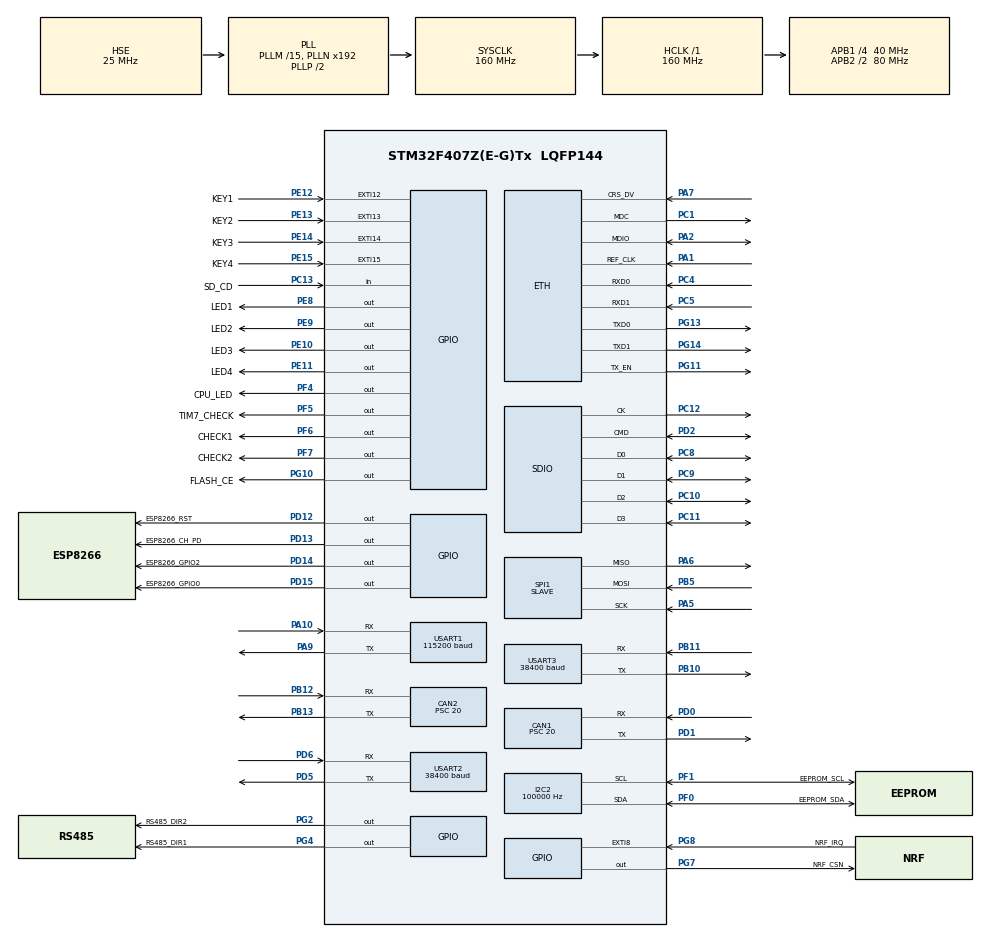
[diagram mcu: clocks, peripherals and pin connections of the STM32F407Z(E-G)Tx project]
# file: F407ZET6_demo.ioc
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CAN1.BS1=CAN_BS1_13TQ
CAN1.BS2=CAN_BS2_2TQ
CAN1.CalculateBaudRate=125000
CAN1.CalculateTimeBit=8000.00
CAN1.CalculateTimeQuantum=500.0
CAN1.Prescaler=20
CAN2.BS1=CAN_BS1_13TQ
CAN2.BS2=CAN_BS2_2TQ
CAN2.CalculateBaudRate=125000
CAN2.CalculateTimeBit=8000.00
CAN2.CalculateTimeQuantum=500.0
CAN2.Prescaler=20
Dma.Request0=SDIO_RX
Dma.Request1=SDIO_TX
Dma.SDIO_RX.0.Direction=DMA_PERIPH_TO_MEMORY
Dma.SDIO_RX.0.FIFOMode=DMA_FIFOMODE_ENABLE
Dma.SDIO_RX.0.FIFOThreshold=DMA_FIFO_THRESHOLD_FULL
Dma.SDIO_RX.0.Instance=DMA2_Stream3
Dma.SDIO_RX.0.MemBurst=DMA_MBURST_INC4
Dma.SDIO_RX.0.MemDataAlignment=DMA_MDATAALIGN_WORD
Dma.SDIO_RX.0.MemInc=DMA_MINC_ENABLE
Dma.SDIO_RX.0.Mode=DMA_PFCTRL
Dma.SDIO_RX.0.PeriphBurst=DMA_PBURST_INC4
Dma.SDIO_RX.0.PeriphDataAlignment=DMA_PDATAALIGN_WORD
Dma.SDIO_RX.0.PeriphInc=DMA_PINC_DISABLE
Dma.SDIO_RX.0.Priority=DMA_PRIORITY_LOW
Dma.SDIO_TX.1.Direction=DMA_MEMORY_TO_PERIPH
Dma.SDIO_TX.1.FIFOMode=DMA_FIFOMODE_ENABLE
Dma.SDIO_TX.1.FIFOThreshold=DMA_FIFO_THRESHOLD_FULL
Dma.SDIO_TX.1.Instance=DMA2_Stream6
Dma.SDIO_TX.1.MemBurst=DMA_MBURST_INC4
Dma.SDIO_TX.1.MemDataAlignment=DMA_MDATAALIGN_WORD
Dma.SDIO_TX.1.MemInc=DMA_MINC_ENABLE
Dma.SDIO_TX.1.Mode=DMA_PFCTRL
Dma.SDIO_TX.1.PeriphBurst=DMA_PBURST_INC4
Dma.SDIO_TX.1.PeriphDataAlignment=DMA_PDATAALIGN_WORD
Dma.SDIO_TX.1.PeriphInc=DMA_PINC_DISABLE
Dma.SDIO_TX.1.Priority=DMA_PRIORITY_LOW
ETH.ChecksumMode=ETH_CHECKSUM_BY_HARDWARE
ETH.MACAddr=00\:00\:00\:00\:00\:00
ETH.MediaInterface=ETH_MEDIA_INTERFACE_RMII
ETH.PHY_Name_RMII=DP83848_PHY_ADDRESS
ETH.PhyAddress=1
ETH.RxMode=ETH_RXINTERRUPT_MODE
FATFS.BSP.number=1
FATFS._CODE_PAGE=850
FATFS._STRF_ENCODE=0
FATFS._USE_EXPAND=1
FATFS._USE_FIND=1
FATFS._USE_FORWARD=1
FATFS._USE_LABEL=1
FATFS._USE_LFN=2
FATFS0.BSP.STBoard=false
FATFS0.BSP.api=Unknown
FATFS0.BSP.i2caddr=0
FATFS0.BSP.instance=PC13-ANTI_TAMP
FATFS0.BSP.ip=GPIO
FATFS0.BSP.mode=Input
FATFS0.BSP.name=Detect_SDIO
FATFS0.BSP.solution=PC13-ANTI_TAMP
FREERTOS.INCLUDE_pcTaskGetTaskName=1
FREERTOS.MEMORY_ALLOCATION=0
FREERTOS.Tasks01=TaskLed,0,512,StartTaskLed,Default,NULL,Dynamic,NULL,NULL
FREERTOS.configCHECK_FOR_STACK_OVERFLOW=2
FREERTOS.configENABLE_BACKWARD_COMPATIBILITY=1
FREERTOS.configGENERATE_RUN_TIME_STATS=1
FREERTOS.configQUEUE_REGISTRY_SIZE=8
FREERTOS.configRECORD_STACK_HIGH_ADDRESS=1
FREERTOS.configTIMER_QUEUE_LENGTH=8
FREERTOS.configTOTAL_HEAP_SIZE=49152
FREERTOS.configUSE_MALLOC_FAILED_HOOK=1
FREERTOS.configUSE_STATS_FORMATTING_FUNCTIONS=1
FREERTOS.configUSE_TIMERS=1
FREERTOS.configUSE_TRACE_FACILITY=1
I2C2.ClockSpeed=100000
I2C2.GeneralCallMode=I2C_GENERALCALL_DISABLE
LWIP.LWIP_DHCP=0
LWIP.MEMP_NUM_TCP_PCB=10
LWIP.MEMP_NUM_TCP_SEG=24
LWIP.PBUF_POOL_BUFSIZE=1560
LWIP.TCP_SND_BUF=1840
LWIP.Version=v2.1.2_Cube
Mcu.Family=STM32F4
Mcu.Name=STM32F407Z(E-G)Tx
Mcu.Package=LQFP144
NVIC.CAN1_RX0_IRQn=true\:5\:0\:false\:false\:true\:true\:true\:true
NVIC.CAN1_SCE_IRQn=true\:5\:0\:false\:false\:true\:true\:true\:true
NVIC.CAN2_RX1_IRQn=true\:5\:0\:false\:false\:true\:true\:true\:true
NVIC.CAN2_SCE_IRQn=true\:5\:0\:false\:false\:true\:true\:true\:true
NVIC.DMA2_Stream3_IRQn=true\:5\:0\:false\:false\:true\:true\:false\:true
NVIC.DMA2_Stream6_IRQn=true\:5\:0\:false\:false\:true\:true\:false\:true
NVIC.ETH_IRQn=true\:5\:0\:false\:false\:true\:true\:false\:true
NVIC.EXTI15_10_IRQn=true\:5\:0\:false\:false\:true\:true\:true\:true
NVIC.PriorityGroup=NVIC_PRIORITYGROUP_4
NVIC.SDIO_IRQn=true\:5\:0\:false\:false\:true\:true\:true\:true
NVIC.SPI1_IRQn=true\:5\:0\:false\:false\:true\:true\:true\:true
NVIC.TIM6_DAC_IRQn=true\:0\:0\:false\:false\:true\:false\:true\:true
NVIC.TIM7_IRQn=true\:5\:0\:false\:false\:true\:true\:true\:true
NVIC.TimeBase=TIM6_DAC_IRQn
NVIC.TimeBaseIP=TIM6
NVIC.USART1_IRQn=true\:5\:0\:false\:false\:true\:true\:true\:true
NVIC.USART2_IRQn=true\:5\:0\:false\:false\:true\:true\:true\:true
NVIC.USART3_IRQn=true\:5\:0\:false\:false\:true\:true\:true\:true
PA1.Mode=RMII
PA1.Signal=ETH_REF_CLK
PA10.Mode=Asynchronous
PA10.Signal=USART1_RX
PA13.Mode=Serial_Wire
PA13.Signal=SYS_JTMS-SWDIO
PA14.Mode=Serial_Wire
PA14.Signal=SYS_JTCK-SWCLK
PA2.Mode=RMII
PA2.Signal=ETH_MDIO
PA5.Mode=Full_Duplex_Slave
PA5.Signal=SPI1_SCK
PA6.Mode=Full_Duplex_Slave
PA6.Signal=SPI1_MISO
PA7.Mode=RMII
PA7.Signal=ETH_CRS_DV
PA9.Mode=Asynchronous
PA9.Signal=USART1_TX
PB10.Mode=Asynchronous
PB10.Signal=USART3_TX
PB11.Mode=Asynchronous
PB11.Signal=USART3_RX
PB12.Mode=CAN_Activate
PB12.Signal=CAN2_RX
PB13.Mode=CAN_Activate
PB13.Signal=CAN2_TX
PB5.Mode=Full_Duplex_Slave
PB5.Signal=SPI1_MOSI
PC1.Mode=RMII
PC1.Signal=ETH_MDC
PC10.GPIO_PuPd=GPIO_PULLUP
PC10.Mode=SD_4_bits_Wide_bus
PC10.Signal=SDIO_D2
PC11.GPIO_PuPd=GPIO_PULLUP
PC11.Mode=SD_4_bits_Wide_bus
PC11.Signal=SDIO_D3
PC12.Mode=SD_4_bits_Wide_bus
PC12.Signal=SDIO_CK
PC13-ANTI_TAMP.GPIO_Label=SD_CD
PC13-ANTI_TAMP.Signal=GPIO_Input
PC14-OSC32_IN.Mode=LSE-External-Oscillator
PC14-OSC32_IN.Signal=RCC_OSC32_IN
PC15-OSC32_OUT.Mode=LSE-External-Oscillator
PC15-OSC32_OUT.Signal=RCC_OSC32_OUT
PC4.Mode=RMII
PC4.Signal=ETH_RXD0
PC5.Mode=RMII
PC5.Signal=ETH_RXD1
PC8.GPIO_PuPd=GPIO_PULLUP
PC8.Mode=SD_4_bits_Wide_bus
PC8.Signal=SDIO_D0
PC9.GPIO_PuPd=GPIO_PULLUP
PC9.Mode=SD_4_bits_Wide_bus
PC9.Signal=SDIO_D1
PD0.Mode=CAN_Activate
PD0.Signal=CAN1_RX
PD1.Mode=CAN_Activate
PD1.Signal=CAN1_TX
PD12.GPIO_Label=ESP8266_RST
PD12.Signal=GPIO_Output
PD13.GPIO_Label=ESP8266_CH_PD
PD13.Signal=GPIO_Output
PD14.GPIO_Label=ESP8266_GPIO2
PD14.Signal=GPIO_Output
PD15.GPIO_Label=ESP8266_GPIO0
PD15.Signal=GPIO_Output
PD2.GPIO_PuPd=GPIO_PULLUP
PD2.Mode=SD_4_bits_Wide_bus
PD2.Signal=SDIO_CMD
PD5.Mode=Asynchronous
PD5.Signal=USART2_TX
PD6.Mode=Asynchronous
PD6.Signal=USART2_RX
PE10.GPIO_Label=LED3
PE10.PinState=GPIO_PIN_SET
PE10.Signal=GPIO_Output
PE11.GPIO_Label=LED4
PE11.PinState=GPIO_PIN_SET
PE11.Signal=GPIO_Output
PE12.GPIO_Label=KEY1
PE12.GPIO_ModeDefaultEXTI=GPIO_MODE_IT_FALLING
PE12.Signal=GPXTI12
PE13.GPIO_Label=KEY2
PE13.GPIO_ModeDefaultEXTI=GPIO_MODE_IT_FALLING
PE13.Signal=GPXTI13
PE14.GPIO_Label=KEY3
PE14.GPIO_ModeDefaultEXTI=GPIO_MODE_IT_FALLING
PE14.Signal=GPXTI14
PE15.GPIO_Label=KEY4
PE15.GPIO_ModeDefaultEXTI=GPIO_MODE_IT_FALLING
PE15.Signal=GPXTI15
PE8.GPIO_Label=LED1
PE8.PinState=GPIO_PIN_SET
PE8.Signal=GPIO_Output
PE9.GPIO_Label=LED2
PE9.PinState=GPIO_PIN_SET
PE9.Signal=GPIO_Output
PF0.GPIO_Label=EEPROM_SDA
PF0.GPIO_PuPdOD=GPIO_PULLUP
PF0.Mode=I2C
PF0.Signal=I2C2_SDA
PF1.GPIO_Label=EEPROM_SCL
PF1.Mode=I2C
PF1.Signal=I2C2_SCL
PF4.GPIO_Label=CPU_LED
PF4.Signal=GPIO_Output
PF5.GPIO_Label=TIM7_CHECK
PF5.Signal=GPIO_Output
PF6.GPIO_Label=CHECK1
PF6.Signal=GPIO_Output
PF7.GPIO_Label=CHECK2
PF7.Signal=GPIO_Output
PG10.GPIO_Label=FLASH_CE
PG10.PinState=GPIO_PIN_SET
PG10.Signal=GPIO_Output
PG11.Mode=RMII
PG11.Signal=ETH_TX_EN
PG13.Mode=RMII
PG13.Signal=ETH_TXD0
PG14.Mode=RMII
PG14.Signal=ETH_TXD1
PG2.GPIO_Label=RS485_DIR2
PG2.Signal=GPIO_Output
PG4.GPIO_Label=RS485_DIR1
PG4.Signal=GPIO_Output
PG7.GPIO_Label=NRF_CSN
PG7.Signal=GPIO_Output
PG8.GPIO_Label=NRF_IRQ
PG8.Signal=GPXTI8
PH0-OSC_IN.Mode=HSE-External-Oscillator
PH0-OSC_IN.Signal=RCC_OSC_IN
PH1-OSC_OUT.Mode=HSE-External-Oscillator
PH1-OSC_OUT.Signal=RCC_OSC_OUT
ProjectManager.HeapSize=0x1000
ProjectManager.StackSize=0x1000
ProjectManager.TargetToolchain=STM32CubeIDE
RCC.48MHZClocksFreq_Value=40000000
RCC.AHBFreq_Value=160000000
RCC.APB1CLKDivider=RCC_HCLK_DIV4
RCC.APB1Freq_Value=40000000
RCC.APB1TimFreq_Value=80000000
RCC.APB2CLKDivider=RCC_HCLK_DIV2
RCC.APB2Freq_Value=80000000
RCC.APB2TimFreq_Value=160000000
RCC.CortexFreq_Value=160000000
RCC.HCLKFreq_Value=160000000
RCC.HSE_VALUE=25000000
RCC.HSI_VALUE=16000000
RCC.PLLM=15
RCC.PLLQ=8
RCC.PLLSourceVirtual=RCC_PLLSOURCE_HSE
RCC.RCC_RTC_Clock_Source=RCC_RTCCLKSOURCE_LSE
RCC.RCC_RTC_Clock_SourceVirtual=RCC_RTCCLKSOURCE_LSE
RCC.SYSCLKFreq_VALUE=160000000
RCC.SYSCLKSource=RCC_SYSCLKSOURCE_PLLCLK
RCC.VCOOutputFreq_Value=320000000
SDIO.ClockDiv=0
SPI1.Direction=SPI_DIRECTION_2LINES
SPI1.Mode=SPI_MODE_SLAVE
SPI1.VirtualType=VM_SLAVE
TIM7.AutoReloadPreload=TIM_AUTORELOAD_PRELOAD_ENABLE
TIM7.Period=24
TIM7.Prescaler=79
USART1.BaudRate=115200
USART1.VirtualMode=VM_ASYNC
USART2.BaudRate=38400
USART2.VirtualMode=VM_ASYNC
USART3.BaudRate=38400
USART3.VirtualMode=VM_ASYNC
VP_FATFS_VS_SDIO.Mode=SDIO
VP_FREERTOS_VS_CMSIS_V1.Mode=CMSIS_V1
VP_LWIP_VS_Enabled.Mode=Enabled
VP_RTC_VS_RTC_Activate.Mode=RTC_Enabled
VP_RTC_VS_RTC_Calendar.Mode=RTC_Calendar
VP_SYS_VS_tim6.Mode=TIM6
VP_TIM7_VS_ClockSourceINT.Mode=Enable_Timer
board=custom

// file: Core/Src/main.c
/* USER CODE BEGIN Header */
/**
  ******************************************************************************
  * @file           : main.c
  * @brief          : Main program body
  ******************************************************************************
  * @attention
  *
  * <h2><center>&copy; Copyright (c) 2021 STMicroelectronics.
  * All rights reserved.</center></h2>
  *
  * This software component is licensed by ST under Ultimate Liberty license
  * SLA0044, the "License"; You may not use this file except in compliance with
  * the License. You may obtain a copy of the License at:
  *                             www.st.com/SLA0044
  *
  ******************************************************************************
  */
/* USER CODE END Header */
#include "main.h"
#include "cmsis_os.h"
#include "fatfs.h"
#include "lwip.h"

/* USER CODE BEGIN Includes */
#include <stdint.h>
#include <stdbool.h>

#include "can.h"
#include "eeprom.h"
#include "uart.h"
#include "crc16.h"
#include "event.h"
#include "tcp.h"
#include "rtc.h"
#include "host.h"
#include "sdcard.h"
#include "modbus.h"
/* USER CODE END Includes */

CAN_HandleTypeDef hcan1;
CAN_HandleTypeDef hcan2;

I2C_HandleTypeDef hi2c2;

RTC_HandleTypeDef hrtc;

SD_HandleTypeDef hsd;
DMA_HandleTypeDef hdma_sdio_rx;
DMA_HandleTypeDef hdma_sdio_tx;

SPI_HandleTypeDef hspi1;

TIM_HandleTypeDef htim7;

UART_HandleTypeDef huart1;
UART_HandleTypeDef huart2;
UART_HandleTypeDef huart3;

osThreadId TaskLedHandle;
/* USER CODE BEGIN PV */

uint8_t step = 0;
static CONFIG *config;
unsigned long ulHighFrequencyTimerTicks;

/* USER CODE END PV */

void SystemClock_Config(void);
static void MX_GPIO_Init(void);
static void MX_DMA_Init(void);
static void MX_I2C2_Init(void);
static void MX_RTC_Init(void);
static void MX_SDIO_SD_Init(void);
static void MX_SPI1_Init(void);
static void MX_TIM7_Init(void);
static void MX_USART1_UART_Init(void);
static void MX_USART3_UART_Init(void);
static void MX_CAN1_Init(void);
static void MX_CAN2_Init(void);
static void MX_USART2_UART_Init(void);
void StartTaskLed(void const * argument);

int main(void)
{
  /* USER CODE BEGIN 1 */
    //MakeCRC16Table();
  /* USER CODE END 1 */

  /* MCU Configuration--------------------------------------------------------*/

  /* Reset of all peripherals, Initializes the Flash interface and the Systick. */
  HAL_Init();

  /* Configure the system clock */
  SystemClock_Config();

  /* Initialize all configured peripherals */
  MX_GPIO_Init();
  MX_DMA_Init();
  MX_I2C2_Init();
  ConfigRead();
  config = ConfigGet();
  MX_RTC_Init();
  MX_SDIO_SD_Init();
  MX_SPI1_Init();
  MX_TIM7_Init();
  MX_USART1_UART_Init();
  MX_USART3_UART_Init();
  MX_CAN1_Init();
  MX_CAN2_Init();
  MX_FATFS_Init();
  MX_USART2_UART_Init();
  /* USER CODE BEGIN 2 */

  //ConfigRead();           //разместить после MX_I2C2_Init
  //config = ConfigGet();   //разместить после MX_I2C2_Init
  UARTInit();
  //ConfigGetStat();
  EventInit();
  CANInit();

  HAL_SD_Init( &hsd );
  HAL_TIM_Base_Start_IT( &htim7 );

  /* USER CODE END 2 */

  /* Create the thread(s) */
  /* definition and creation of TaskLed */
  osThreadDef(TaskLed, StartTaskLed, osPriorityNormal, 0, 512);
  TaskLedHandle = osThreadCreate(osThread(TaskLed), NULL);

  /* USER CODE BEGIN RTOS_THREADS */
  /* add threads, ... */
  //CANInit();
  //EventInit();
  /* USER CODE END RTOS_THREADS */

  /* Start scheduler */
  osKernelStart();

  /* We should never get here as control is now taken by the scheduler */
  /* Infinite loop */
  while (1)
  {

  }
}

void SystemClock_Config(void)
{
  RCC_OscInitTypeDef RCC_OscInitStruct = {0};
  RCC_ClkInitTypeDef RCC_ClkInitStruct = {0};
  RCC_PeriphCLKInitTypeDef PeriphClkInitStruct = {0};

  /** Configure the main internal regulator output voltage
  */
  __HAL_RCC_PWR_CLK_ENABLE();
  __HAL_PWR_VOLTAGESCALING_CONFIG(PWR_REGULATOR_VOLTAGE_SCALE1);
  /** Initializes the RCC Oscillators according to the specified parameters
  * in the RCC_OscInitTypeDef structure.
  */
  RCC_OscInitStruct.OscillatorType = RCC_OSCILLATORTYPE_HSE|RCC_OSCILLATORTYPE_LSE;
  RCC_OscInitStruct.HSEState = RCC_HSE_ON;
  RCC_OscInitStruct.LSEState = RCC_LSE_ON;
  RCC_OscInitStruct.PLL.PLLState = RCC_PLL_ON;
  RCC_OscInitStruct.PLL.PLLSource = RCC_PLLSOURCE_HSE;
  RCC_OscInitStruct.PLL.PLLM = 15;
  RCC_OscInitStruct.PLL.PLLN = 192;
  RCC_OscInitStruct.PLL.PLLP = RCC_PLLP_DIV2;
  RCC_OscInitStruct.PLL.PLLQ = 8;
  if (HAL_RCC_OscConfig(&RCC_OscInitStruct) != HAL_OK)
  {
    Error_Handler();
  }
  /** Initializes the CPU, AHB and APB buses clocks
  */
  RCC_ClkInitStruct.ClockType = RCC_CLOCKTYPE_HCLK|RCC_CLOCKTYPE_SYSCLK
                              |RCC_CLOCKTYPE_PCLK1|RCC_CLOCKTYPE_PCLK2;
  RCC_ClkInitStruct.SYSCLKSource = RCC_SYSCLKSOURCE_PLLCLK;
  RCC_ClkInitStruct.AHBCLKDivider = RCC_SYSCLK_DIV1;
  RCC_ClkInitStruct.APB1CLKDivider = RCC_HCLK_DIV4;
  RCC_ClkInitStruct.APB2CLKDivider = RCC_HCLK_DIV2;

  if (HAL_RCC_ClockConfig(&RCC_ClkInitStruct, FLASH_LATENCY_5) != HAL_OK)
  {
    Error_Handler();
  }
  PeriphClkInitStruct.PeriphClockSelection = RCC_PERIPHCLK_RTC;
  PeriphClkInitStruct.RTCClockSelection = RCC_RTCCLKSOURCE_LSE;
  if (HAL_RCCEx_PeriphCLKConfig(&PeriphClkInitStruct) != HAL_OK)
  {
    Error_Handler();
  }
}

static void MX_CAN1_Init(void)
{

  hcan1.Instance = CAN1;
  hcan1.Init.Prescaler = CANGetParam( config->can1_speed, CAN_PRESCALER ); //20;
  hcan1.Init.Mode = CAN_MODE_NORMAL;
  hcan1.Init.SyncJumpWidth = CAN_SJW_1TQ;
  hcan1.Init.TimeSeg1 = CANGetParam( config->can1_speed, CAN_TIMESEG1 ); //CAN_BS1_13TQ;
  hcan1.Init.TimeSeg2 = CANGetParam( config->can1_speed, CAN_TIMESEG2 ); //CAN_BS2_2TQ;
  hcan1.Init.TimeTriggeredMode = DISABLE;
  hcan1.Init.AutoBusOff = DISABLE;
  hcan1.Init.AutoWakeUp = DISABLE;
  hcan1.Init.AutoRetransmission = DISABLE;
  hcan1.Init.ReceiveFifoLocked = DISABLE;
  hcan1.Init.TransmitFifoPriority = DISABLE;
  if (HAL_CAN_Init(&hcan1) != HAL_OK)
  {
    Error_Handler();
  }

}

static void MX_CAN2_Init(void)
{

  hcan2.Instance = CAN2;
  hcan2.Init.Prescaler = CANGetParam( config->can2_speed, CAN_PRESCALER ); //20;
  hcan2.Init.Mode = CAN_MODE_NORMAL;
  hcan2.Init.SyncJumpWidth = CAN_SJW_1TQ;
  hcan2.Init.TimeSeg1 = CANGetParam( config->can2_speed, CAN_TIMESEG1 ); //CAN_BS1_13TQ;
  hcan2.Init.TimeSeg2 = CANGetParam( config->can2_speed, CAN_TIMESEG2 ); //CAN_BS2_2TQ;
  hcan2.Init.TimeTriggeredMode = DISABLE;
  hcan2.Init.AutoBusOff = DISABLE;
  hcan2.Init.AutoWakeUp = DISABLE;
  hcan2.Init.AutoRetransmission = DISABLE;
  hcan2.Init.ReceiveFifoLocked = DISABLE;
  hcan2.Init.TransmitFifoPriority = DISABLE;
  if (HAL_CAN_Init(&hcan2) != HAL_OK)
  {
    Error_Handler();
  }

}

static void MX_I2C2_Init(void)
{

  hi2c2.Instance = I2C2;
  hi2c2.Init.ClockSpeed = 100000;
  hi2c2.Init.DutyCycle = I2C_DUTYCYCLE_2;
  hi2c2.Init.OwnAddress1 = 0;
  hi2c2.Init.AddressingMode = I2C_ADDRESSINGMODE_7BIT;
  hi2c2.Init.DualAddressMode = I2C_DUALADDRESS_DISABLE;
  hi2c2.Init.OwnAddress2 = 0;
  hi2c2.Init.GeneralCallMode = I2C_GENERALCALL_DISABLE;
  hi2c2.Init.NoStretchMode = I2C_NOSTRETCH_DISABLE;
  if (HAL_I2C_Init(&hi2c2) != HAL_OK)
  {
    Error_Handler();
  }

}

static void MX_RTC_Init(void)
{

  //RTC_TimeTypeDef sTime = {0};
  //RTC_DateTypeDef sDate = {0};

  /** Initialize RTC Only
  */
  hrtc.Instance = RTC;
  hrtc.Init.HourFormat = RTC_HOURFORMAT_24;
  hrtc.Init.AsynchPrediv = 127;
  hrtc.Init.SynchPrediv = 255;
  hrtc.Init.OutPut = RTC_OUTPUT_DISABLE;
  hrtc.Init.OutPutPolarity = RTC_OUTPUT_POLARITY_HIGH;
  hrtc.Init.OutPutType = RTC_OUTPUT_TYPE_OPENDRAIN;
  if (HAL_RTC_Init(&hrtc) != HAL_OK)
  {
    Error_Handler();
  }

  /** Initialize RTC and set the Time and Date
  */
/*
  sTime.Hours = 0x0;
  sTime.Minutes = 0x0;
  sTime.Seconds = 0x0;
  sTime.DayLightSaving = RTC_DAYLIGHTSAVING_NONE;
  sTime.StoreOperation = RTC_STOREOPERATION_RESET;
  if (HAL_RTC_SetTime(&hrtc, &sTime, RTC_FORMAT_BCD) != HAL_OK)
  {
    Error_Handler();
  }
  sDate.WeekDay = RTC_WEEKDAY_MONDAY;
  sDate.Month = RTC_MONTH_JANUARY;
  sDate.Date = 0x1;
  sDate.Year = 0x0;

  if (HAL_RTC_SetDate(&hrtc, &sDate, RTC_FORMAT_BCD) != HAL_OK)
  {
    Error_Handler();
  }
*/

}

static void MX_SDIO_SD_Init(void)
{

  hsd.Instance = SDIO;
  hsd.Init.ClockEdge = SDIO_CLOCK_EDGE_RISING;
  hsd.Init.ClockBypass = SDIO_CLOCK_BYPASS_DISABLE;
  hsd.Init.ClockPowerSave = SDIO_CLOCK_POWER_SAVE_DISABLE;
  hsd.Init.BusWide = SDIO_BUS_WIDE_1B;
  hsd.Init.HardwareFlowControl = SDIO_HARDWARE_FLOW_CONTROL_DISABLE;
  hsd.Init.ClockDiv = 0;

}

static void MX_SPI1_Init(void)
{

  /* SPI1 parameter configuration*/
  hspi1.Instance = SPI1;
  hspi1.Init.Mode = SPI_MODE_SLAVE;
  hspi1.Init.Direction = SPI_DIRECTION_2LINES;
  hspi1.Init.DataSize = SPI_DATASIZE_8BIT;
  hspi1.Init.CLKPolarity = SPI_POLARITY_LOW;
  hspi1.Init.CLKPhase = SPI_PHASE_1EDGE;
  hspi1.Init.NSS = SPI_NSS_SOFT;
  hspi1.Init.FirstBit = SPI_FIRSTBIT_MSB;
  hspi1.Init.TIMode = SPI_TIMODE_DISABLE;
  hspi1.Init.CRCCalculation = SPI_CRCCALCULATION_DISABLE;
  hspi1.Init.CRCPolynomial = 10;
  if (HAL_SPI_Init(&hspi1) != HAL_OK)
  {
    Error_Handler();
  }

}

static void MX_TIM7_Init(void)
{

  TIM_MasterConfigTypeDef sMasterConfig = {0};

  htim7.Instance = TIM7;
  htim7.Init.Prescaler = 79;
  htim7.Init.CounterMode = TIM_COUNTERMODE_UP;
  htim7.Init.Period = 24;
  htim7.Init.AutoReloadPreload = TIM_AUTORELOAD_PRELOAD_ENABLE;
  if (HAL_TIM_Base_Init(&htim7) != HAL_OK)
  {
    Error_Handler();
  }
  sMasterConfig.MasterOutputTrigger = TIM_TRGO_RESET;
  sMasterConfig.MasterSlaveMode = TIM_MASTERSLAVEMODE_DISABLE;
  if (HAL_TIMEx_MasterConfigSynchronization(&htim7, &sMasterConfig) != HAL_OK)
  {
    Error_Handler();
  }

}

static void MX_USART1_UART_Init(void)
{

  huart1.Instance = USART1;
  huart1.Init.BaudRate = config->uart1_speed;
  //huart1.Init.BaudRate = 115200;
  huart1.Init.WordLength = UART_WORDLENGTH_8B;
  huart1.Init.StopBits = UART_STOPBITS_1;
  huart1.Init.Parity = UART_PARITY_NONE;
  huart1.Init.Mode = UART_MODE_TX_RX;
  huart1.Init.HwFlowCtl = UART_HWCONTROL_NONE;
  huart1.Init.OverSampling = UART_OVERSAMPLING_16;
  if (HAL_UART_Init(&huart1) != HAL_OK)
  {
    Error_Handler();
  }

}

static void MX_USART2_UART_Init(void)
{

  huart2.Instance = USART2;
  huart2.Init.BaudRate = config->modbus_speed;  //19200;
  //huart2.Init.BaudRate = 19200;
  huart2.Init.WordLength = UART_WORDLENGTH_8B;
  huart2.Init.StopBits = UART_STOPBITS_1;
  huart2.Init.Parity = UART_PARITY_NONE;
  huart2.Init.Mode = UART_MODE_TX_RX;
  huart2.Init.HwFlowCtl = UART_HWCONTROL_NONE;
  huart2.Init.OverSampling = UART_OVERSAMPLING_16;
  if (HAL_UART_Init(&huart2) != HAL_OK)
  {
    Error_Handler();
  }

}

static void MX_USART3_UART_Init(void)
{

  huart3.Instance = USART3;
  huart3.Init.BaudRate = 38400;
  huart3.Init.WordLength = UART_WORDLENGTH_8B;
  huart3.Init.StopBits = UART_STOPBITS_1;
  huart3.Init.Parity = UART_PARITY_NONE;
  huart3.Init.Mode = UART_MODE_TX_RX;
  huart3.Init.HwFlowCtl = UART_HWCONTROL_NONE;
  huart3.Init.OverSampling = UART_OVERSAMPLING_16;
  if (HAL_UART_Init(&huart3) != HAL_OK)
  {
    Error_Handler();
  }

}

static void MX_DMA_Init(void)
{

  /* DMA controller clock enable */
  __HAL_RCC_DMA2_CLK_ENABLE();

  /* DMA interrupt init */
  /* DMA2_Stream3_IRQn interrupt configuration */
  HAL_NVIC_SetPriority(DMA2_Stream3_IRQn, 5, 0);
  HAL_NVIC_EnableIRQ(DMA2_Stream3_IRQn);
  /* DMA2_Stream6_IRQn interrupt configuration */
  HAL_NVIC_SetPriority(DMA2_Stream6_IRQn, 5, 0);
  HAL_NVIC_EnableIRQ(DMA2_Stream6_IRQn);

}

static void MX_GPIO_Init(void)
{
  GPIO_InitTypeDef GPIO_InitStruct = {0};

  /* GPIO Ports Clock Enable */
  __HAL_RCC_GPIOC_CLK_ENABLE();
  __HAL_RCC_GPIOF_CLK_ENABLE();
  __HAL_RCC_GPIOH_CLK_ENABLE();
  __HAL_RCC_GPIOA_CLK_ENABLE();
  __HAL_RCC_GPIOE_CLK_ENABLE();
  __HAL_RCC_GPIOB_CLK_ENABLE();
  __HAL_RCC_GPIOD_CLK_ENABLE();
  __HAL_RCC_GPIOG_CLK_ENABLE();

  /*Configure GPIO pin Output Level */
  HAL_GPIO_WritePin(GPIOF, CPU_LED_Pin|TIM7_CHECK_Pin|CHECK1_Pin|CHECK2_Pin, GPIO_PIN_RESET);

  /*Configure GPIO pin Output Level */
  HAL_GPIO_WritePin(GPIOE, LED1_Pin|LED2_Pin|LED3_Pin|LED4_Pin, GPIO_PIN_SET);

  /*Configure GPIO pin Output Level */
  HAL_GPIO_WritePin(GPIOD, ESP8266_RST_Pin|ESP8266_CH_PD_Pin|ESP8266_GPIO2_Pin|ESP8266_GPIO0_Pin, GPIO_PIN_RESET);

  /*Configure GPIO pin Output Level */
  HAL_GPIO_WritePin(GPIOG, RS485_DIR2_Pin|RS485_DIR1_Pin|NRF_CSN_Pin, GPIO_PIN_RESET);

  /*Configure GPIO pin Output Level */
  HAL_GPIO_WritePin(FLASH_CE_GPIO_Port, FLASH_CE_Pin, GPIO_PIN_SET);

  /*Configure GPIO pin : SD_CD_Pin */
  GPIO_InitStruct.Pin = SD_CD_Pin;
  GPIO_InitStruct.Mode = GPIO_MODE_INPUT;
  GPIO_InitStruct.Pull = GPIO_NOPULL;
  HAL_GPIO_Init(SD_CD_GPIO_Port, &GPIO_InitStruct);

  /*Configure GPIO pins : CPU_LED_Pin TIM7_CHECK_Pin CHECK1_Pin CHECK2_Pin */
  GPIO_InitStruct.Pin = CPU_LED_Pin|TIM7_CHECK_Pin|CHECK1_Pin|CHECK2_Pin;
  GPIO_InitStruct.Mode = GPIO_MODE_OUTPUT_PP;
  GPIO_InitStruct.Pull = GPIO_NOPULL;
  GPIO_InitStruct.Speed = GPIO_SPEED_FREQ_LOW;
  HAL_GPIO_Init(GPIOF, &GPIO_InitStruct);

  /*Configure GPIO pins : LED1_Pin LED2_Pin LED3_Pin LED4_Pin */
  GPIO_InitStruct.Pin = LED1_Pin|LED2_Pin|LED3_Pin|LED4_Pin;
  GPIO_InitStruct.Mode = GPIO_MODE_OUTPUT_PP;
  GPIO_InitStruct.Pull = GPIO_NOPULL;
  GPIO_InitStruct.Speed = GPIO_SPEED_FREQ_LOW;
  HAL_GPIO_Init(GPIOE, &GPIO_InitStruct);

  /*Configure GPIO pins : KEY1_Pin KEY2_Pin KEY3_Pin KEY4_Pin */
  GPIO_InitStruct.Pin = KEY1_Pin|KEY2_Pin|KEY3_Pin|KEY4_Pin;
  GPIO_InitStruct.Mode = GPIO_MODE_IT_FALLING;
  GPIO_InitStruct.Pull = GPIO_NOPULL;
  HAL_GPIO_Init(GPIOE, &GPIO_InitStruct);

  /*Configure GPIO pins : ESP8266_RST_Pin ESP8266_CH_PD_Pin ESP8266_GPIO2_Pin ESP8266_GPIO0_Pin */
  GPIO_InitStruct.Pin = ESP8266_RST_Pin|ESP8266_CH_PD_Pin|ESP8266_GPIO2_Pin|ESP8266_GPIO0_Pin;
  GPIO_InitStruct.Mode = GPIO_MODE_OUTPUT_PP;
  GPIO_InitStruct.Pull = GPIO_NOPULL;
  GPIO_InitStruct.Speed = GPIO_SPEED_FREQ_LOW;
  HAL_GPIO_Init(GPIOD, &GPIO_InitStruct);

  /*Configure GPIO pins : RS485_DIR2_Pin RS485_DIR1_Pin NRF_CSN_Pin FLASH_CE_Pin */
  GPIO_InitStruct.Pin = RS485_DIR2_Pin|RS485_DIR1_Pin|NRF_CSN_Pin|FLASH_CE_Pin;
  GPIO_InitStruct.Mode = GPIO_MODE_OUTPUT_PP;
  GPIO_InitStruct.Pull = GPIO_NOPULL;
  GPIO_InitStruct.Speed = GPIO_SPEED_FREQ_LOW;
  HAL_GPIO_Init(GPIOG, &GPIO_InitStruct);

  /*Configure GPIO pin : NRF_IRQ_Pin */
  GPIO_InitStruct.Pin = NRF_IRQ_Pin;
  GPIO_InitStruct.Mode = GPIO_MODE_IT_RISING;
  GPIO_InitStruct.Pull = GPIO_NOPULL;
  HAL_GPIO_Init(NRF_IRQ_GPIO_Port, &GPIO_InitStruct);

  /* EXTI interrupt init*/
  HAL_NVIC_SetPriority(EXTI15_10_IRQn, 5, 0);
  HAL_NVIC_EnableIRQ(EXTI15_10_IRQn);

}

void StartTaskLed(void const * argument)
{
    /* init code for LWIP */
    MX_LWIP_Init();
    /* USER CODE BEGIN 5 */
    ConfigGetStat();                    //вывод результата чтения параметров из EEPROM
    SDCardMount();                      //монтирование SD карты
    ModBusInit();                       //инициализация MODBUS
    FileTest();                         //тестовая запись в файл
    TCPServerInit();                    //инициализация задачи обработки TCP соединения для порта №1,2
    TCPEchoInit();                      //инициализация задачи обработки TCP соединения для порта 7
    DateTime( MASK_DATE | MASK_TIME );  //вывод текущей даты/время
    HostPrompt();                       //вывод приглашения
    /* init code for LWIP */
    /* Infinite loop */
    for ( ;; ) {
        step++;
        HAL_GPIO_TogglePin( CPU_LED_GPIO_Port, CPU_LED_Pin );
        if ( step % 2 )
            CANCommand( EVENT_CAN1_UPD | EVENT_CAN1_SEND );
        else
            CANCommand( EVENT_CAN2_UPD | EVENT_CAN2_SEND );
        //ModBusTest();
        osDelay( 300 );
    }
  /* USER CODE END 5 */
}

 /**
  * @brief  Period elapsed callback in non blocking mode
  * @note   This function is called  when TIM6 interrupt took place, inside
  * HAL_TIM_IRQHandler(). It makes a direct call to HAL_IncTick() to increment
  * a global variable "uwTick" used as application time base.
  * @param  htim : TIM handle
  * @retval None
  */
void HAL_TIM_PeriodElapsedCallback(TIM_HandleTypeDef *htim)
{
  if (htim->Instance == TIM6) {
    HAL_IncTick();
  }
}

void Error_Handler(void)
{
  __disable_irq();
  while (1)
  {
  }
}

/************************ (C) COPYRIGHT STMicroelectronics *****END OF FILE****/

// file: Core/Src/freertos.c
/* USER CODE BEGIN Header */
/**
  ******************************************************************************
  * File Name          : freertos.c
  * Description        : Code for freertos applications
  ******************************************************************************
  * @attention
  *
  * <h2><center>&copy; Copyright (c) 2021 STMicroelectronics.
  * All rights reserved.</center></h2>
  *
  * This software component is licensed by ST under Ultimate Liberty license
  * SLA0044, the "License"; You may not use this file except in compliance with
  * the License. You may obtain a copy of the License at:
  *                             www.st.com/SLA0044
  *
  ******************************************************************************
  */
/* USER CODE END Header */

#include "FreeRTOS.h"
#include "task.h"
#include "main.h"

/* USER CODE BEGIN Variables */

unsigned long ulHighFrequencyTimerTicks;

/* USER CODE END Variables */

/* Hook prototypes */
void configureTimerForRunTimeStats(void);
unsigned long getRunTimeCounterValue(void);
void vApplicationStackOverflowHook(xTaskHandle xTask, signed char *pcTaskName);
void vApplicationMallocFailedHook(void);

/* USER CODE BEGIN 1 */
/* Functions needed when configGENERATE_RUN_TIME_STATS is on */
__weak void configureTimerForRunTimeStats(void)
{
    ulHighFrequencyTimerTicks = 0UL;
}

__weak unsigned long getRunTimeCounterValue(void)
{
    return ulHighFrequencyTimerTicks;
}
/* USER CODE END 1 */

/* USER CODE BEGIN 4 */
__weak void vApplicationStackOverflowHook(TaskHandle_t xTask, signed char *pcTaskName)
{
   /* Run time stack overflow checking is performed if
   configCHECK_FOR_STACK_OVERFLOW is defined to 1 or 2. This hook function is
   called if a stack overflow is detected. */
}
/* USER CODE END 4 */

/* USER CODE BEGIN 5 */
__weak void vApplicationMallocFailedHook(void)
{
   /* vApplicationMallocFailedHook() will only be called if
   configUSE_MALLOC_FAILED_HOOK is set to 1 in FreeRTOSConfig.h. It is a hook
   function that will get called if a call to pvPortMalloc() fails.
   pvPortMalloc() is called internally by the kernel whenever a task, queue,
   timer or semaphore is created. It is also called by various parts of the
   demo application. If heap_1.c or heap_2.c are used, then the size of the
   heap available to pvPortMalloc() is defined by configTOTAL_HEAP_SIZE in
   FreeRTOSConfig.h, and the xPortGetFreeHeapSize() API function can be used
   to query the size of free heap space that remains (although it does not
   provide information on how the remaining heap might be fragmented). */
}
/* USER CODE END 5 */

/************************ (C) COPYRIGHT STMicroelectronics *****END OF FILE****/
